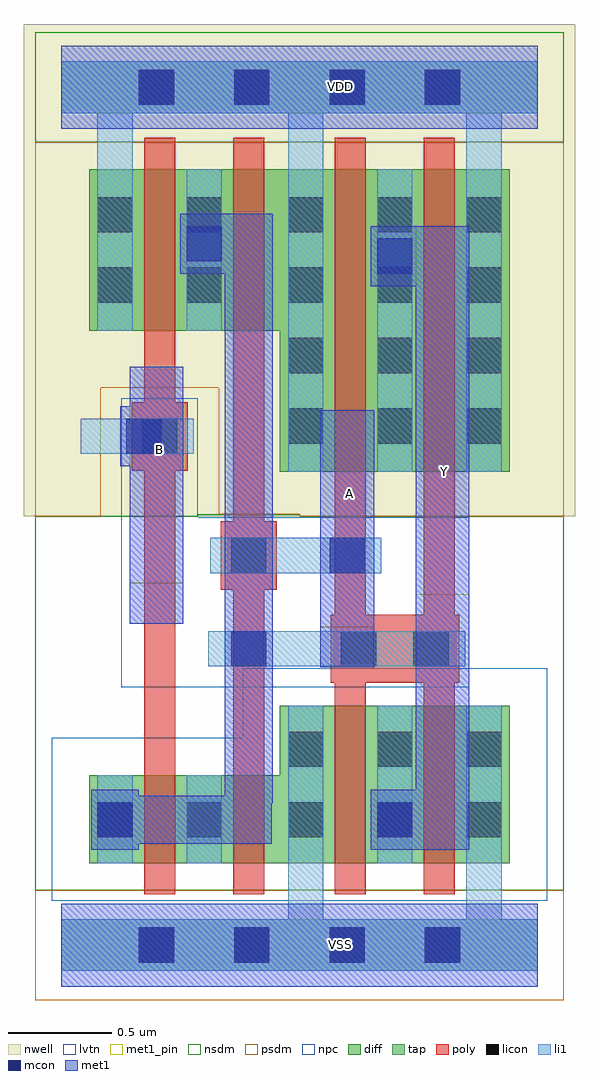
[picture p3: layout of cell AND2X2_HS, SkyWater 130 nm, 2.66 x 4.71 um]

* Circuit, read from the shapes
.subckt AND2X2_HS A B VDD VSS Y
XM1 n1 B n2 VSS sky130_fd_pr__nfet_01v8_lvt w=0.425 l=0.15
XM2 VSS A n1 VSS sky130_fd_pr__nfet_01v8_lvt w=0.425 l=0.15
XM3 Y n2 VSS VSS sky130_fd_pr__nfet_01v8_lvt w=0.76 l=0.15 m=2
XM4 n2 B VDD VDD sky130_fd_pr__pfet_01v8 w=0.78 l=0.15
XM5 VDD A n2 VDD sky130_fd_pr__pfet_01v8 w=0.78 l=0.15
XM6 Y n2 VDD VDD sky130_fd_pr__pfet_01v8 w=1.46 l=0.15 m=2
.ends

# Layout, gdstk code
from math import pi, radians
import gdstk
lib = gdstk.Library(unit=1e-6, precision=1e-09)
def R(c, l, rs):  # rectangles x0, y0, x1, y1
    for r in rs: c.add(gdstk.rectangle(r[:2], r[2:], *l))
def A(c, l, x, y, w, h, nx, ny, dx, dy):  # array of equal rectangles
    R(c, l, [(x+i*dx, y+j*dy, x+i*dx+w, y+j*dy+h) for i in range(nx) for j in range(ny)])
def P(c, l, *ps):  # polygons
    for p in ps: c.add(gdstk.Polygon(p, *l))
nwell = (64, 20)
diff = (65, 20)
tap = (65, 44)
poly = (66, 20)
licon = (66, 44)
li1 = (67, 20)
mcon = (67, 44)
met1_pin = (68, 16)
met1 = (68, 20)
nsdm = (93, 44)
psdm = (94, 20)
npc = (95, 20)
lvtn = (125, 44)

l1m1_c_cdns_750721774072 = lib.new_cell('L1M1_C_CDNS_750721774072')
R(l1m1_c_cdns_750721774072, li1, [(-0.085,-0.165,0.085,0.165)])
R(l1m1_c_cdns_750721774072, mcon, [(-0.085,-0.085,0.085,0.085)])
R(l1m1_c_cdns_750721774072, met1, [(-0.115,-0.145,0.115,0.145)])

l1m1_c_cdns_750721774074 = lib.new_cell('L1M1_C_CDNS_750721774074')
R(l1m1_c_cdns_750721774074, li1, [(-0.165,-0.085,0.165,0.085)])
R(l1m1_c_cdns_750721774074, mcon, [(-0.085,-0.085,0.085,0.085)])
R(l1m1_c_cdns_750721774074, met1, [(-0.115,-0.145,0.115,0.145)])

licondiff_c_cdns_7507217 = lib.new_cell('LICONDIFF_C_CDNS_750721774075')
R(licondiff_c_cdns_7507217, diff, [(-0.125,-0.145,0.125,0.145)])
R(licondiff_c_cdns_7507217, licon, [(-0.085,-0.085,0.085,0.085), (-0.085,-0.085,0.085,0.085)])

pyl1con_c_cdns_750721774 = lib.new_cell('PYL1CON_C_CDNS_750721774073')
R(pyl1con_c_cdns_750721774, poly, [(-0.135,-0.165,0.135,0.165)])
R(pyl1con_c_cdns_750721774, licon, [(-0.085,-0.085,0.085,0.085)])
R(pyl1con_c_cdns_750721774, npc, [(-0.185,-0.185,0.185,0.185)])

and2x2_hs = lib.new_cell('AND2X2_HS')
R(and2x2_hs, nwell, [(-0.18,2.07,2.48,4.305), (0.875,2.105,2.345,3.925), (-0.045,2.785,0.955,3.925), (0.595,2.785,1.235,3.925), (-0.18,3.875,2.48,4.445)])
R(and2x2_hs, diff, [(0.135,0.395,0.4,0.82), (0.4,0.395,0.55,0.82), (0.55,0.395,0.775,0.82), (0.775,0.395,0.83,0.82), (0.83,0.395,0.98,0.82), (0.98,0.395,1.055,0.82), (1.055,0.395,1.32,1.155), (1.32,0.395,1.47,1.155), (1.47,0.395,1.75,1.155), (1.75,0.395,1.9,1.155), (1.9,0.395,2.165,1.155), (1.055,2.285,1.32,3.745), (1.32,2.285,1.47,3.745), (1.47,2.285,1.75,3.745), (1.75,2.285,1.9,3.745), (1.9,2.285,2.165,3.745), (0.135,2.965,0.4,3.745), (0.4,2.965,0.55,3.745), (0.55,2.965,0.775,3.745), (0.775,2.965,0.83,3.745), (0.83,2.965,0.98,3.745), (0.98,2.965,1.055,3.745)])
R(and2x2_hs, poly, [(0.4,0.245,0.55,0.3), (0.83,0.245,0.98,0.3), (1.32,0.245,1.47,0.3), (1.75,0.245,1.9,0.3), (0.4,0.3,0.55,0.395), (0.83,0.3,0.98,0.395), (1.32,0.3,1.47,0.395), (1.75,0.3,1.9,0.395), (0.4,0.395,0.55,0.82), (0.83,0.395,0.98,0.82), (1.32,0.395,1.47,1.155), (1.75,0.395,1.9,1.155), (0.4,0.82,0.55,0.915), (0.83,0.82,0.98,0.915), (0.4,0.915,0.55,0.97), (0.83,0.915,0.98,0.97), (1.32,1.155,1.47,1.25), (1.75,1.155,1.9,1.25), (1.32,1.25,1.47,1.305), (1.75,1.25,1.9,1.305), (1.32,2.135,1.47,2.19), (1.75,2.135,1.9,2.19), (1.32,2.19,1.47,2.285), (1.75,2.19,1.9,2.285), (1.32,2.285,1.47,3.745), (1.75,2.285,1.9,3.745), (0.4,2.815,0.55,2.87), (0.83,2.815,0.98,2.87), (0.4,2.87,0.55,2.965), (0.83,2.87,0.98,2.965), (0.4,2.965,0.55,3.745), (0.83,2.965,0.98,3.745), (0.4,3.745,0.55,3.84), (0.83,3.745,0.98,3.84), (1.32,3.745,1.47,3.84), (1.75,3.745,1.9,3.84), (0.4,3.84,0.55,3.895), (0.83,3.84,0.98,3.895), (1.32,3.84,1.47,3.895), (1.75,3.84,1.9,3.895)])
A(and2x2_hs, licon, 0.375, -0.085, 0.17, 0.17, 4, 2, 0.46, 4.14)
A(and2x2_hs, licon, 1.095, 0.52, 0.17, 0.17, 3, 2, 0.43, 0.34)
A(and2x2_hs, licon, 1.095, 2.42, 0.17, 0.17, 3, 4, 0.43, 0.34)
R(and2x2_hs, licon, [(0.175,0.52,0.345,0.69), (0.175,3.1,0.345,3.27), (0.605,3.1,0.775,3.27), (0.175,3.44,0.345,3.61), (0.605,3.44,0.775,3.61)])
A(and2x2_hs, li1, 1.095, 0.395, 0.17, 0.76, 3, 1, 0.43, 0)
A(and2x2_hs, li1, 1.095, 2.285, 0.17, 1.46, 3, 1, 0.43, 0)
R(and2x2_hs, li1, [(1.955,0,2.125,0.59), (1.095,0.005,1.265,0.59), (0.175,0.395,0.345,0.82), (0.175,2.965,0.345,3.745), (0.605,2.965,0.775,3.745)])
A(and2x2_hs, mcon, 0.375, -0.085, 0.17, 0.17, 4, 2, 0.46, 4.14)
R(and2x2_hs, met1_pin, [(1.25,1.535,1.51,2.58), (1.71,1.69,1.97,3.47), (0.33,1.745,0.59,2.79)])
R(and2x2_hs, nsdm, [(-0.005,0.265,0.785,0.95), (0.765,0.265,0.935,0.95), (0.915,0.265,2.305,1.285), (-0.125,3.875,2.425,4.405), (-0.125,3.93,2.425,4.35)])
P(and2x2_hs, nsdm, [(2.425,2.07),(1.15,2.07),(1.15,2.08),(0.66,2.08),(0.66,2.07),(-0.125,2.07),(-0.125,0.265),(2.425,0.265)])
R(and2x2_hs, psdm, [(-0.125,-0.265,2.425,0.265), (-0.125,-0.21,2.425,0.21), (0.915,2.155,2.305,3.875), (-0.005,2.835,0.785,3.875), (0.765,2.835,0.935,3.875)])
P(and2x2_hs, psdm, [(2.425,3.875),(-0.125,3.875),(-0.125,2.07),(0.19,2.07),(0.19,2.69),(0.76,2.69),(0.76,2.08),(1.15,2.08),(1.15,2.07),(2.425,2.07)])
R(and2x2_hs, npc, [(0.72,1.695,1.09,2.065)])
P(and2x2_hs, npc, [(1.97,2.065),(0.66,2.065),(0.66,2.64),(0.29,2.64),(0.29,1.245),(1.97,1.245)])
R(and2x2_hs, lvtn, [(-0.045,0.215,0.955,1), (0.595,0.215,1.235,1), (0.875,0.215,2.345,1.335)])
and2x2_hs.add(gdstk.FlexPath([(1.435,1.43),(1.785,1.43)], 0.33, ends="flush", simple_path=True, layer=66, datatype=20))  # poly
and2x2_hs.add(gdstk.FlexPath([(0.475,2.815),(0.475,0.97)], 0.15, ends="flush", simple_path=True, layer=66, datatype=20))  # poly
and2x2_hs.add(gdstk.FlexPath([(1.825,2.135),(1.825,1.305)], 0.15, ends="flush", simple_path=True, layer=66, datatype=20))  # poly
and2x2_hs.add(gdstk.FlexPath([(0.905,2.815),(0.905,0.97)], 0.15, ends="flush", simple_path=True, layer=66, datatype=20))  # poly
and2x2_hs.add(gdstk.FlexPath([(1.395,2.135),(1.395,1.305)], 0.15, ends="flush", simple_path=True, layer=66, datatype=20))  # poly
and2x2_hs.add(gdstk.FlexPath([(1.05,1.88),(1.38,1.88)], 0.17, ends="flush", simple_path=True, layer=67, datatype=20))  # li1
and2x2_hs.add(gdstk.FlexPath([(1.18,3.55),(1.18,4.14)], 0.17, ends=(0, 0.125), simple_path=True, layer=67, datatype=20))  # li1
and2x2_hs.add(gdstk.FlexPath([(0.72,1.88),(1.05,1.88)], 0.17, ends="flush", simple_path=True, layer=67, datatype=20))  # li1
and2x2_hs.add(gdstk.FlexPath([(0.26,3.55),(0.26,4.14)], 0.17, ends="flush", simple_path=True, layer=67, datatype=20))  # li1
and2x2_hs.add(gdstk.FlexPath([(0.095,2.455),(0.64,2.455)], 0.17, ends="flush", simple_path=True, layer=67, datatype=20))  # li1
and2x2_hs.add(gdstk.FlexPath([(0.71,1.43),(1.95,1.43)], 0.17, ends="flush", simple_path=True, layer=67, datatype=20))  # li1
and2x2_hs.add(gdstk.FlexPath([(0.295,2.455),(0.64,2.455)], 0.17, ends="flush", simple_path=True, layer=67, datatype=20))  # li1
and2x2_hs.add(gdstk.FlexPath([(2.04,4.14),(2.3,4.14)], 0.25, ends=(0.085, 0), simple_path=True, layer=67, datatype=20))  # li1
and2x2_hs.add(gdstk.FlexPath([(0.26,4.14),(1.18,4.14)], 0.25, ends=(0.085, 0.085), simple_path=True, layer=67, datatype=20))  # li1
and2x2_hs.add(gdstk.FlexPath([(0.69,0.395),(0.69,0.82)], 0.17, ends="flush", simple_path=True, layer=67, datatype=20))  # li1
and2x2_hs.add(gdstk.FlexPath([(0,4.14),(0.26,4.14)], 0.25, ends=(0, 0.085), simple_path=True, layer=67, datatype=20))  # li1
and2x2_hs.add(gdstk.FlexPath([(2.04,3.55),(2.04,4.14)], 0.17, ends=(0, 0.125), simple_path=True, layer=67, datatype=20))  # li1
and2x2_hs.add(gdstk.FlexPath([(1.18,4.14),(2.04,4.14)], 0.25, ends=(0.085, 0.085), simple_path=True, layer=67, datatype=20))  # li1
and2x2_hs.add(gdstk.FlexPath([(1.18,0),(2.3,0)], 0.25, ends=(0.085, 0), simple_path=True, layer=67, datatype=20))  # li1
and2x2_hs.add(gdstk.FlexPath([(0,0),(1.18,0)], 0.25, ends=(0, 0.085), simple_path=True, layer=67, datatype=20))  # li1
and2x2_hs.add(gdstk.FlexPath([(0,0),(2.3,0)], 0.4, ends="flush", simple_path=True, layer=68, datatype=16))  # met1_pin
and2x2_hs.add(gdstk.FlexPath([(0,4.14),(2.3,4.14)], 0.4, ends="flush", simple_path=True, layer=68, datatype=16))  # met1_pin
and2x2_hs.add(gdstk.FlexPath([(0.9,0.605),(0.255,0.605)], 0.23, ends=(0.115, 0), simple_path=True, layer=68, datatype=20))  # met1
and2x2_hs.add(gdstk.FlexPath([(0.46,2.79),(0.46,1.55)], 0.26, ends="flush", simple_path=True, layer=68, datatype=20))  # met1
and2x2_hs.add(gdstk.FlexPath([(1.84,0.785),(1.84,3.34)], 0.26, ends="extended", simple_path=True, layer=68, datatype=20))  # met1
and2x2_hs.add(gdstk.FlexPath([(0.905,3.53),(0.905,0.8)], 0.23, ends=(0, 0.115), simple_path=True, layer=68, datatype=20))  # met1
and2x2_hs.add(gdstk.FlexPath([(1.38,2.58),(1.38,1.34)], 0.26, ends="flush", simple_path=True, layer=68, datatype=20))  # met1
and2x2_hs.add(gdstk.FlexPath([(0,0),(2.3,0)], 0.4, ends="flush", simple_path=True, layer=68, datatype=20))  # met1
and2x2_hs.add(gdstk.FlexPath([(0,4.14),(2.3,4.14)], 0.4, ends="flush", simple_path=True, layer=68, datatype=20))  # met1
and2x2_hs.add(gdstk.FlexPath([(1.84,0.46),(1.84,0.785)], 0.26, ends="flush", simple_path=True, layer=68, datatype=20))  # met1
and2x2_hs.add(gdstk.FlexPath([(1.84,3.34),(1.495,3.34)], 0.26, ends=(0.13, 0), simple_path=True, layer=68, datatype=20))  # met1
and2x2_hs.add(gdstk.FlexPath([(0,0),(2.3,0)], 0.25, ends="flush", simple_path=True, layer=65, datatype=44))  # tap
and2x2_hs.add(gdstk.FlexPath([(0,4.14),(2.3,4.14)], 0.25, ends="flush", simple_path=True, layer=65, datatype=44))  # tap
and2x2_hs.add(gdstk.Reference(l1m1_c_cdns_750721774072, (1.61,0.605)))
and2x2_hs.add(gdstk.Reference(l1m1_c_cdns_750721774072, (1.61,3.325)))
and2x2_hs.add(gdstk.Reference(l1m1_c_cdns_750721774072, (0.69,3.385)))
and2x2_hs.add(gdstk.Reference(l1m1_c_cdns_750721774072, (0.26,0.605)))
and2x2_hs.add(gdstk.Reference(l1m1_c_cdns_750721774074, (1.38,1.88)))
and2x2_hs.add(gdstk.Reference(l1m1_c_cdns_750721774074, (0.4,2.455)))
and2x2_hs.add(gdstk.Reference(l1m1_c_cdns_750721774074, (0.905,1.43), rotation=pi, x_reflection=True))
and2x2_hs.add(gdstk.Reference(licondiff_c_cdns_7507217, (0.69,0.605)))
and2x2_hs.add(gdstk.Reference(pyl1con_c_cdns_750721774, (1.785,1.43), x_reflection=True))
and2x2_hs.add(gdstk.Reference(pyl1con_c_cdns_750721774, (1.435,1.43), rotation=pi))
and2x2_hs.add(gdstk.Reference(pyl1con_c_cdns_750721774, (0.905,1.88), rotation=pi, x_reflection=True))
and2x2_hs.add(gdstk.Reference(pyl1con_c_cdns_750721774, (0.475,2.455), rotation=pi, x_reflection=True))
and2x2_hs.add(gdstk.Label('B', (0.472,2.392), layer=68, texttype=5))
and2x2_hs.add(gdstk.Label('VDD', (1.35,4.145), layer=68, texttype=5))
and2x2_hs.add(gdstk.Label('A', (1.392,2.181), layer=68, texttype=5))
and2x2_hs.add(gdstk.Label('VSS', (1.35,0.005), layer=68, texttype=5))
and2x2_hs.add(gdstk.Label('Y', (1.852,2.284), layer=68, texttype=5))

lib.write_gds('AND2X2_HS.gds')
